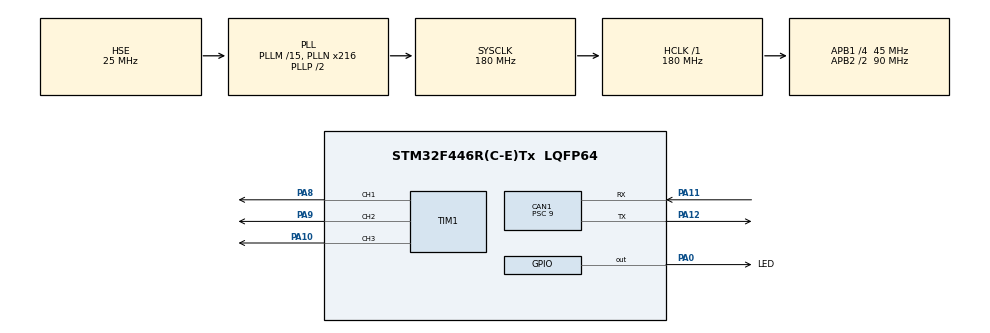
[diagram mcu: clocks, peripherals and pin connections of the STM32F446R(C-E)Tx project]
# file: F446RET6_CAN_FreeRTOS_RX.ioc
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CAN1.BS1=CAN_BS1_2TQ
CAN1.BS2=CAN_BS2_2TQ
CAN1.CalculateBaudRate=1000000
CAN1.CalculateTimeBit=1000
CAN1.CalculateTimeQuantum=200.0
CAN1.Prescaler=9
Mcu.Family=STM32F4
Mcu.Name=STM32F446R(C-E)Tx
Mcu.Package=LQFP64
NVIC.CAN1_RX1_IRQn=true\:0\:0\:false\:false\:true\:true\:true\:true
NVIC.PriorityGroup=NVIC_PRIORITYGROUP_4
PA0-WKUP.GPIO_Label=LED
PA0-WKUP.Signal=GPIO_Output
PA10.Signal=S_TIM1_CH3
PA11.Mode=CAN_Activate
PA11.Signal=CAN1_RX
PA12.Mode=CAN_Activate
PA12.Signal=CAN1_TX
PA13.Mode=Serial_Wire
PA13.Signal=SYS_JTMS-SWDIO
PA14.Mode=Serial_Wire
PA14.Signal=SYS_JTCK-SWCLK
PA8.Signal=S_TIM1_CH1
PA9.Signal=S_TIM1_CH2
PH0-OSC_IN.Mode=HSE-External-Oscillator
PH0-OSC_IN.Signal=RCC_OSC_IN
PH1-OSC_OUT.Mode=HSE-External-Oscillator
PH1-OSC_OUT.Signal=RCC_OSC_OUT
ProjectManager.HeapSize=0x200
ProjectManager.StackSize=0x400
ProjectManager.TargetToolchain=STM32CubeIDE
RCC.AHBFreq_Value=180000000
RCC.APB1CLKDivider=RCC_HCLK_DIV4
RCC.APB1Freq_Value=45000000
RCC.APB1TimFreq_Value=90000000
RCC.APB2CLKDivider=RCC_HCLK_DIV2
RCC.APB2Freq_Value=90000000
RCC.APB2TimFreq_Value=180000000
RCC.CortexFreq_Value=180000000
RCC.HCLKFreq_Value=180000000
RCC.PLLM=15
RCC.PLLN=216
RCC.PLLSourceVirtual=RCC_PLLSOURCE_HSE
RCC.SYSCLKFreq_VALUE=180000000
RCC.SYSCLKSource=RCC_SYSCLKSOURCE_PLLCLK
RCC.USBFreq_Value=180000000
RCC.VCOOutputFreq_Value=360000000
SH.S_TIM1_CH1.0=TIM1_CH1,PWM Generation1 CH1
SH.S_TIM1_CH2.0=TIM1_CH2,PWM Generation2 CH2
SH.S_TIM1_CH3.0=TIM1_CH3,PWM Generation3 CH3
TIM1.AutoReloadPreload=TIM_AUTORELOAD_PRELOAD_ENABLE
TIM1.Channel-PWM\ Generation1\ CH1=TIM_CHANNEL_1
TIM1.Channel-PWM\ Generation2\ CH2=TIM_CHANNEL_2
TIM1.Channel-PWM\ Generation3\ CH3=TIM_CHANNEL_3
TIM2.AutoReloadPreload=TIM_AUTORELOAD_PRELOAD_ENABLE
TIM2.Period=9999
TIM2.Prescaler=89
VP_TIM2_VS_ClockSourceINT.Mode=Internal
board=custom

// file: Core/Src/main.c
/* USER CODE BEGIN Header */
/**
  ******************************************************************************
  * @file           : main.c
  * @brief          : Main program body
  ******************************************************************************
  * @attention
  *
  * Copyright (c) 2024 STMicroelectronics.
  * All rights reserved.
  *
  * This software is licensed under terms that can be found in the LICENSE file
  * in the root directory of this software component.
  * If no LICENSE file comes with this software, it is provided AS-IS.
  *
  ******************************************************************************
  */
/* USER CODE END Header */
#include "main.h"
#include "can.h"
#include "tim.h"
#include "gpio.h"

/* USER CODE BEGIN PV */

CAN_TxHeaderTypeDef TxHeader;
CAN_RxHeaderTypeDef RxHeader;

uint8_t TxData[8];
uint8_t RxData[8];

uint32_t TxMailbox;

int datacheck = 0;

float pwm_M1 = 0 ;
float pwm_M2 = 0 ;

float RxData1 = 0;
float RxData2 = 0;
float RxData3 = 0;
float RxData4 = 0;

float V1 = 0;
float V2 = 0;
float V3 = 0;
float V4 = 0;

uint16_t V1_out = 0;
uint16_t V2_out = 0;
uint16_t V3_out = 0;
uint16_t V4_out = 0;

uint8_t flag = 0;
uint8_t cntt;
uint8_t cnt;

/* USER CODE END PV */

void SystemClock_Config(void);
/* USER CODE BEGIN PFP */

/* MAP */

float map(float Input, float Min_Input, float Max_Input, float Min_Output, float Max_Output) {
	return (float) ((Input - Min_Input) * (Max_Output - Min_Output) / (Max_Input - Min_Input) + Min_Output);
}

/* STM32 INTERUPP RECEIVER FROM USB CAN */

	void HAL_CAN_RxFifo1MsgPendingCallback(CAN_HandleTypeDef *hcan) {
		HAL_CAN_GetRxMessage(hcan, CAN_RX_FIFO1
				, &RxHeader, RxData);
		cntt++;
		while (cntt - 100 > 0) {
			HAL_GPIO_TogglePin(GPIOC, GPIO_PIN_13);
			cntt = 0;
		}

	/* DATA RECIEVER FROM USB CAN */

		if (TxHeader.DLC == 8) {
		RxData1 = (RxData[0] << 8) | RxData[1];
		RxData2 = (RxData[2] << 8) | RxData[3];
		RxData3 = (RxData[4] << 8) | RxData[5];
		RxData4 = (RxData[6] << 8) | RxData[7];

	/* TRANFER TO SPEED */

		/* M MOTOR */

			V1 = RxData1;
			V2 = RxData2;
			V3 = RxData3;
			V4 = RxData4;

			/* MAP TX DATA FROM 8BIT TO 16BIT (MOTOR ) */

				/* MAPPING MOTOR */
//
//					M1_out = map(M1, 0, 65535, -64, 64);
//					M2_out = map(M2, 0, 65535, -64, 64);
//
//					flag = 1;
	}
}

/* USER CODE END PFP */

int main(void)
{

  /* MCU Configuration--------------------------------------------------------*/

  /* Reset of all peripherals, Initializes the Flash interface and the Systick. */
  HAL_Init();

  /* Configure the system clock */
  SystemClock_Config();

  /* Initialize all configured peripherals */
  MX_GPIO_Init();
  MX_CAN1_Init();
  MX_TIM1_Init();
  MX_TIM2_Init();
  /* USER CODE BEGIN 2 */

  HAL_CAN_Start(&hcan1);

  // Activate the notification
  HAL_CAN_ActivateNotification(&hcan1, CAN_IT_RX_FIFO1_MSG_PENDING);

  TxHeader.DLC = 8;  // data length
  TxHeader.IDE = CAN_ID_STD;
  TxHeader.RTR = CAN_RTR_DATA;
  TxHeader.StdId = 0x446;  // ID

  TxData[0] = 200;  // ms delay
  TxData[1] = 20;  // loop rep

  /* USER CODE END 2 */

  /* Infinite loop */
  while (1)
  {

  }
}

void SystemClock_Config(void)
{
  RCC_OscInitTypeDef RCC_OscInitStruct = {0};
  RCC_ClkInitTypeDef RCC_ClkInitStruct = {0};

  /** Configure the main internal regulator output voltage
  */
  __HAL_RCC_PWR_CLK_ENABLE();
  __HAL_PWR_VOLTAGESCALING_CONFIG(PWR_REGULATOR_VOLTAGE_SCALE1);

  /** Initializes the RCC Oscillators according to the specified parameters
  * in the RCC_OscInitTypeDef structure.
  */
  RCC_OscInitStruct.OscillatorType = RCC_OSCILLATORTYPE_HSE;
  RCC_OscInitStruct.HSEState = RCC_HSE_ON;
  RCC_OscInitStruct.PLL.PLLState = RCC_PLL_ON;
  RCC_OscInitStruct.PLL.PLLSource = RCC_PLLSOURCE_HSE;
  RCC_OscInitStruct.PLL.PLLM = 15;
  RCC_OscInitStruct.PLL.PLLN = 216;
  RCC_OscInitStruct.PLL.PLLP = RCC_PLLP_DIV2;
  RCC_OscInitStruct.PLL.PLLQ = 2;
  RCC_OscInitStruct.PLL.PLLR = 2;
  if (HAL_RCC_OscConfig(&RCC_OscInitStruct) != HAL_OK)
  {
    Error_Handler();
  }

  /** Activate the Over-Drive mode
  */
  if (HAL_PWREx_EnableOverDrive() != HAL_OK)
  {
    Error_Handler();
  }

  /** Initializes the CPU, AHB and APB buses clocks
  */
  RCC_ClkInitStruct.ClockType = RCC_CLOCKTYPE_HCLK|RCC_CLOCKTYPE_SYSCLK
                              |RCC_CLOCKTYPE_PCLK1|RCC_CLOCKTYPE_PCLK2;
  RCC_ClkInitStruct.SYSCLKSource = RCC_SYSCLKSOURCE_PLLCLK;
  RCC_ClkInitStruct.AHBCLKDivider = RCC_SYSCLK_DIV1;
  RCC_ClkInitStruct.APB1CLKDivider = RCC_HCLK_DIV4;
  RCC_ClkInitStruct.APB2CLKDivider = RCC_HCLK_DIV2;

  if (HAL_RCC_ClockConfig(&RCC_ClkInitStruct, FLASH_LATENCY_5) != HAL_OK)
  {
    Error_Handler();
  }
}

/* USER CODE BEGIN 4 */

void HAL_TIM_PeriodElapsedCallback(TIM_HandleTypeDef *htim) {
	if (htim->Instance == TIM2) {
		TIM1->CCR1 = V1;
		TIM1->CCR2 = V2;
		TIM1->CCR3 = V3;

	/* TX DATA SEND TO PC MAP 16BIT TO 8BIT COZ DATA CAN 1DATA=8BIT */

		TxData[0] = ((V1_out & 0xFF00) >> 8);
		TxData[1] = (V1_out & 0x00FF);
		TxData[2] = ((V2_out & 0xFF00) >> 8);
		TxData[3] = (V2_out & 0x00FF);
		TxData[4] = ((V3_out & 0xFF00) >> 8);
		TxData[5] = (V3_out & 0x00FF);
		TxData[6] = ((V4_out & 0xFF00) >> 8);
		TxData[7] = (V4_out & 0x00FF);

		if (!(HAL_GPIO_ReadPin(GPIOC, GPIO_PIN_13))) {
			HAL_CAN_AddTxMessage(&hcan1, &TxHeader, TxData, &TxMailbox);

		}
	}

}

/* USER CODE END 4 */

void Error_Handler(void)
{
  __disable_irq();
  while (1)
  {
  }
}
